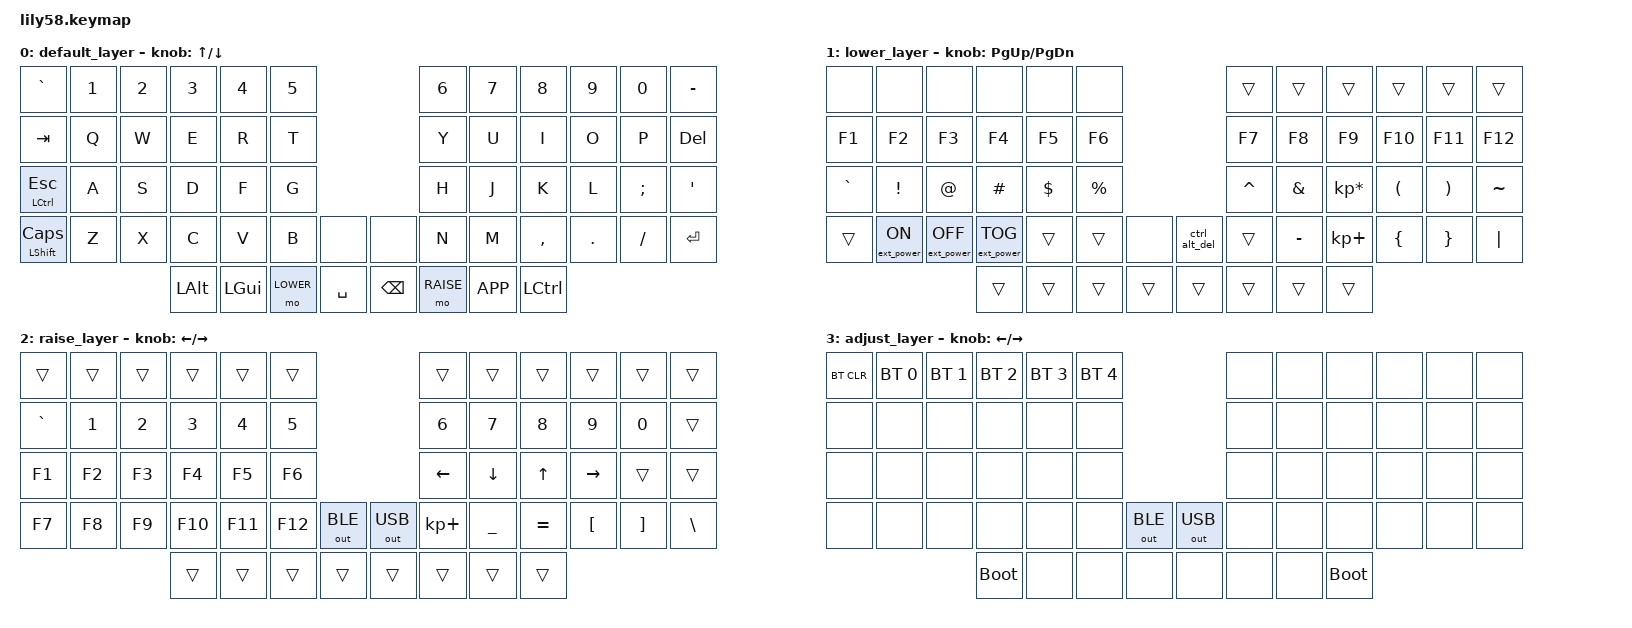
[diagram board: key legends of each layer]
#include <behaviors.dtsi>
#include <dt-bindings/zmk/keys.h>
#include <dt-bindings/zmk/bt.h>
#include <dt-bindings/zmk/ext_power.h>
#include <dt-bindings/zmk/outputs.h>

#define LOWER 1
#define RAISE 2
#define ADJUST 3

/ {
    macros {
        ctrl_alt_del: ctrl_alt_del {
            label = "CTRL_ALT_DEL";
            compatible = "zmk,behavior-macro";
            #binding-cells = <0>;
            bindings
                = <&macro_press &kp LCTRL &kp LALT &kp DEL>
                , <&macro_release &kp LCTRL &kp LALT &kp DEL>
                ;
        };
    };

    conditional_layers {
        compatible = "zmk,conditional-layers";
        tri_layer {
            if-layers = <LOWER RAISE>;
            then-layer = <ADJUST>;
        };
    };

    keymap {
        compatible = "zmk,keymap";

        default_layer {
            // ╭─────────────┬─────────────┬─────────────┬─────────────┬─────────────┬─────────────╮                                 ╭─────────────┬─────────────┬─────────────┬─────────────┬─────────────┬─────────────╮
            // ├      `      ┼      1      ┼      2      ┼      3      ┼      4      ┼      5      ┤                                 ├      6      ┼      7      ┼      8      ┼      9      ┼      0      ┼     DEL     ┤
            // ├─────────────┼─────────────┼─────────────┼─────────────┼─────────────┼─────────────┤                                 ├─────────────┼─────────────┼─────────────┼─────────────┼─────────────┼─────────────┤
            // ├     TAB     ┼      Q      ┼      W      ┼      E      ┼      R      ┼      T      ┤                                 ├      Y      ┼      U      ┼      I      ┼      O      ┼      P      ┼      -      ┤
            // ├─────────────┼─────────────┼─────────────┼─────────────┼─────────────┼─────────────┤                                 ├─────────────┼─────────────┼─────────────┼─────────────┼─────────────┼─────────────┤
            // ├     ESC     ┼      A      ┼      S      ┼      D      ┼      F      ┼      G      ┤ ╭─────────────╮ ╭─────────────╮ ├      H      ┼      J      ┼      K      ┼      L      ┼      ;      ┼      '      ┤
            // ├─────────────┼─────────────┼─────────────┼─────────────┼─────────────┼─────────────┤ ├             ┤ ├             ┤ ├─────────────┼─────────────┼─────────────┼─────────────┼─────────────┼─────────────┤
            // ├    SHIFT    ┼      Z      ┼      X      ┼      C      ┼      V      ┼      B      ┤ ╰─────────────╯ ╰─────────────╯ ├      N      ┼      M      ┼      ,      ┼      .      ┼      /      ┼    ENTER    ┤
            // ╰─────────────┴─────────────┴─────────────┼─────────────┼─────────────┼─────────────┤ ╭─────────────╮ ╭─────────────╮ ├─────────────┼─────────────┼─────────────┼─────────────┴─────────────┴─────────────╯
            //                                           ├     ALT     ┼     GUI     ┼    LOWER    ┤ ├    SPACE    ┤ ├  BACKSPACE  ┤ ├    RAISE    ┼    MENU     ┼  LEFT CTRL  ┤
            //                                           ╰─────────────┴─────────────┴─────────────╯ ╰─────────────╯ ╰─────────────╯ ╰─────────────┴─────────────┴─────────────╯
			bindings = <
                &kp GRAVE       &kp N1 &kp N2 &kp N3   &kp N4   &kp N5                          &kp N6     &kp N7    &kp N8    &kp N9  &kp N0   &kp MINUS
                &kp TAB         &kp Q  &kp W  &kp E    &kp R    &kp T                           &kp Y      &kp U     &kp I     &kp O   &kp P    &kp DELETE
                &mt LCTRL ESC   &kp A  &kp S  &kp D    &kp F    &kp G                           &kp H      &kp J     &kp K     &kp L   &kp SEMI &kp SQT
                &mt LSHFT CAPS  &kp Z  &kp X  &kp C    &kp V    &kp B      &none      &none     &kp N      &kp M     &kp COMMA &kp DOT &kp FSLH &kp RET
                                              &kp LALT &kp LGUI &mo LOWER  &kp SPACE  &kp BSPC  &mo RAISE  &kp K_APP &kp LCTRL
			>;
			sensor-bindings = <&inc_dec_kp UP DOWN>;
		};

		lower_layer {
            // ╭─────────────┬─────────────┬─────────────┬─────────────┬─────────────┬─────────────╮                                 ╭─────────────┬─────────────┬─────────────┬─────────────┬─────────────┬─────────────╮
            // ├             ┼             ┼             ┼             ┼             ┼             ┤                                 ├             ┼             ┼             ┼             ┼             ┼             ┤
            // ├─────────────┼─────────────┼─────────────┼─────────────┼─────────────┼─────────────┤                                 ├─────────────┼─────────────┼─────────────┼─────────────┼─────────────┼─────────────┤
            // ├     F1      ┼      F2     ┼      F3     ┼      F4     ┼      F5     ┼      F6     ┤                                 ├      F7     ┼      F8     ┼      F9     ┼     F10     ┼     F11     ┼     F12     ┤
            // ├─────────────┼─────────────┼─────────────┼─────────────┼─────────────┼─────────────┤                                 ├─────────────┼─────────────┼─────────────┼─────────────┼─────────────┼─────────────┤
            // ├     `       ┼      !      ┼      @      ┼      #      ┼      $      ┼      %      ┤                                 ├      ^      ┼      &      ┼      *      ┼      (      ┼      )      ┼      ~      ┤
            // ├─────────────┼─────────────┼─────────────┼─────────────┼─────────────┼─────────────┤                                 ├─────────────┼─────────────┼─────────────┼─────────────┼─────────────┼─────────────┤
            // ├             ┼             ┼             ┼             ┼             ┼             ┤ ╭─────────────╮ ╭─────────────╮ ├             ┼             ┼             ┼             ┼             ┼             ┤
            // ├─────────────┼─────────────┼─────────────┼─────────────┼─────────────┼─────────────┤ ├             ┤ ├ CtrlAltDel  ┤ ├─────────────┼─────────────┼─────────────┼─────────────┼─────────────┼─────────────┤
            // ├             ┼             ┼             ┼             ┼             ┼             ┤ ╰─────────────╯ ╰─────────────╯ ├             ┼             ┼             ┼             ┼             ┼             ┤
            // ╰─────────────┴─────────────┴─────────────┼─────────────┼─────────────┼─────────────┤ ╭─────────────╮ ╭─────────────╮ ├─────────────┼─────────────┼─────────────┼─────────────┴─────────────┴─────────────╯
            //                                           ┼             ┼             ┼             ┤ ├             ┤ ├             ┤ ┼             ┼             ┼             ┤
            //                                           ╰─────────────┴─────────────┴─────────────╯ ╰─────────────╯ ╰─────────────╯ ╰─────────────┴─────────────┴─────────────╯
            bindings = <
                &none      &none            &none             &none             &none        &none                               &trans    &trans    &trans          &trans    &trans    &trans
                &kp F1     &kp F2           &kp F3            &kp F4            &kp F5       &kp F6                              &kp F7    &kp F8    &kp F9          &kp F10   &kp F11   &kp F12
                &kp GRAVE  &kp EXCL         &kp AT            &kp HASH          &kp DOLLAR   &kp PRCNT                           &kp CARET &kp AMPS  &kp KP_MULTIPLY &kp LPAR  &kp RPAR  &kp TILDE
                &trans     &ext_power EP_ON &ext_power EP_OFF &ext_power EP_TOG &trans       &trans       &none   &ctrl_alt_del  &trans    &kp MINUS &kp KP_PLUS     &kp LBRC  &kp RBRC  &kp PIPE
                                                              &trans            &trans       &trans       &trans  &trans         &trans    &trans    &trans
			>;
			sensor-bindings = <&inc_dec_kp PG_UP PG_DN>;
		};

		raise_layer {
            // ╭─────────────┬─────────────┬─────────────┬─────────────┬─────────────┬─────────────╮                                 ╭─────────────┬─────────────┬─────────────┬─────────────┬─────────────┬─────────────╮
            // ├             ┼             ┼             ┼             ┼             ┼             ┤                                 ├             ┼             ┼             ┼             ┼             ┼             ┤
            // ├─────────────┼─────────────┼─────────────┼─────────────┼─────────────┼─────────────┤                                 ├─────────────┼─────────────┼─────────────┼─────────────┼─────────────┼─────────────┤
            // ├     `       ┼      1      ┼      2      ┼      3      ┼      4      ┼      5      ┤                                 ├      6      ┤      7      ┼      8      ┼      9      ┼     10      ┼             ┤
            // ├─────────────┼─────────────┼─────────────┼─────────────┼─────────────┼─────────────┤                                 ├─────────────┼─────────────┼─────────────┼─────────────┼─────────────┼─────────────┤
            // ├     F1      ┼      F2     ┼      F3     ┼      F4     ┼      F5     ┼      F6     ┤                                 ├            ┼            ┼            ┼            ┼             ┼             ┤
            // ├─────────────┼─────────────┼─────────────┼─────────────┼─────────────┼─────────────┤                                 ├─────────────┼─────────────┼─────────────┼─────────────┼─────────────┼─────────────┤
            // ├     F7      ┼      F8     ┼      F9     ┼     F10     ┼     F11     ┼     F12     ┤ ╭─────────────╮ ╭─────────────╮ ├      +      ┼      _      ┼      =      ┼      [      ┼      ]      ┼      \      ┤
            // ├─────────────┼─────────────┼─────────────┼─────────────┼─────────────┼─────────────┤ ├             ┤ ├             ┤ ├─────────────┼─────────────┼─────────────┼─────────────┼─────────────┼─────────────┤
            // ├             ┼             ┼             ┼             ┼             ┼             ┤ ╰─────────────╯ ╰─────────────╯ ├             ┼             ┼             ┼             ┼             ┼             ┤
            // ╰─────────────┴─────────────┴─────────────┼─────────────┼─────────────┼─────────────┤ ╭─────────────╮ ╭─────────────╮ ├─────────────┼─────────────┼─────────────┼─────────────┴─────────────┴─────────────╯
            //                                           ┼             ┼             ┼             ┤ ├             ┤ ├             ┤ ┼             ┼             ┼             ┤
            //                                           ╰─────────────┴─────────────┴─────────────╯ ╰─────────────╯ ╰─────────────╯ ╰─────────────┴─────────────┴─────────────╯
            bindings = <
                &trans    &trans &trans &trans  &trans  &trans                                 &trans      &trans    &trans    &trans    &trans    &trans
                &kp GRAVE &kp N1 &kp N2 &kp N3  &kp N4  &kp N5                                 &kp N6      &kp N7    &kp N8    &kp N9    &kp N0    &trans
                &kp F1    &kp F2 &kp F3 &kp F4  &kp F5  &kp F6                                 &kp LEFT    &kp DOWN  &kp UP    &kp RIGHT &trans    &trans
                &kp F7    &kp F8 &kp F9 &kp F10 &kp F11 &kp F12   &out OUT_BLE   &out OUT_USB  &kp KP_PLUS &kp UNDER &kp EQUAL &kp LBKT  &kp RBKT  &kp BSLH
                                        &trans  &trans  &trans    &trans         &trans        &trans      &trans    &trans
			>;
			sensor-bindings = <&inc_dec_kp LEFT RIGHT>;
		};

		adjust_layer {
            // ╭─────────────┬─────────────┬─────────────┬─────────────┬─────────────┬─────────────╮                                 ╭─────────────┬─────────────┬─────────────┬─────────────┬─────────────┬─────────────╮
            // ├   BT CLR    ┼    BT 1     ┼    BT 2     ┼    BT 3     ┼    BT 4     ┼    BT 5     ┼                                 ├             ┼             ┼             ┼             ┼             ┼             ┤
            // ├─────────────┼─────────────┼─────────────┼─────────────┼─────────────┼─────────────┤                                 ├─────────────┼─────────────┼─────────────┼─────────────┼─────────────┼─────────────┤
            // ├             ┼             ┼             ┼             ┼             ┼             ┤                                 ├             ┼             ┼             ┼             ┼             ┼             ┤
            // ├─────────────┼─────────────┼─────────────┼─────────────┼─────────────┼─────────────┤                                 ├─────────────┼─────────────┼─────────────┼─────────────┼─────────────┼─────────────┤
            // ├             ┼             ┼             ┼             ┼             ┼             ┤                                 ├             ┼             ┼             ┼             ┼             ┼             ┤
            // ├─────────────┼─────────────┼─────────────┼─────────────┼─────────────┼─────────────┤                                 ├─────────────┼─────────────┼─────────────┼─────────────┼─────────────┼─────────────┤
            // ├             ┼             ┼             ┼             ┼             ┼             ┤ ╭─────────────╮ ╭─────────────╮ ├             ┼             ┼             ┼             ┼             ┼             ┤
            // ├─────────────┼─────────────┼─────────────┼─────────────┼─────────────┼─────────────┤ ├   USE BT    ┤ ├   USE USB   ┤ ├─────────────┼─────────────┼─────────────┼─────────────┼─────────────┼─────────────┤
            // ├             ┼             ┼             ┼             ┼             ┼             ┤ ╰─────────────╯ ╰─────────────╯ ├             ┼             ┼             ┼             ┼             ┼             ┤
            // ╰─────────────┴─────────────┴─────────────┼─────────────┼─────────────┼─────────────┤ ╭─────────────╮ ╭─────────────╮ ├─────────────┼─────────────┼─────────────┼─────────────┴─────────────┴─────────────╯
            //                                           ┼  Bootloader ┼             ┼             ┤ ├             ┤ ├             ┤ ┼             ┼             ┼  Bootloader ┤
            //                                           ╰─────────────┴─────────────┴─────────────╯ ╰─────────────╯ ╰─────────────╯ ╰─────────────┴─────────────┴─────────────╯
            bindings = <
                &bt BT_CLR  &bt BT_SEL 0  &bt BT_SEL 1  &bt BT_SEL 2  &bt BT_SEL 3  &bt BT_SEL 4                                &none   &none    &none        &none     &none     &none
                &none       &none         &none         &none         &none         &none                                       &none   &none    &none        &none     &none     &none
                &none       &none         &none         &none         &none         &none                                       &none   &none    &none        &none     &none     &none
                &none       &none         &none         &none         &none         &none          &out OUT_BLE   &out OUT_USB  &none   &none    &none        &none     &none     &none
                                                        &bootloader   &none         &none          &none          &none         &none   &none    &bootloader
			>;
			sensor-bindings = <&inc_dec_kp LEFT RIGHT>;
		};
	};
};

// vi:ft=devicetree
